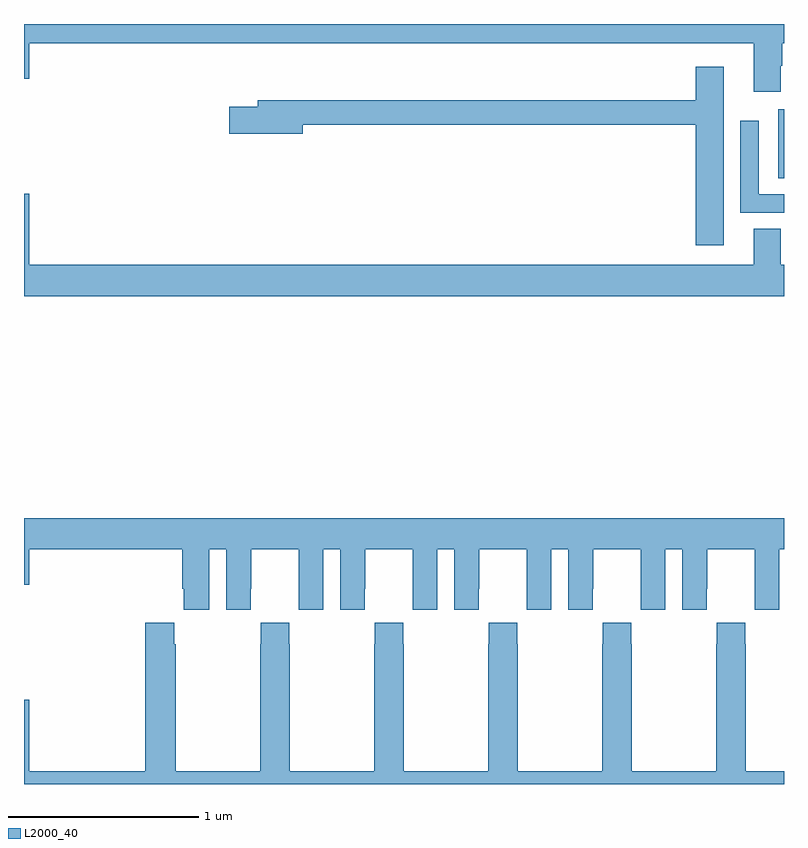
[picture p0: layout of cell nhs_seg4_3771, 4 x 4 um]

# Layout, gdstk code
import gdstk
lib = gdstk.Library(unit=1e-6, precision=1e-09)
def R(c, l, rs):  # rectangles x0, y0, x1, y1
    for r in rs: c.add(gdstk.rectangle(r[:2], r[2:], *l))
def P(c, l, *ps):  # polygons
    for p in ps: c.add(gdstk.Polygon(p, *l))
L2000_40 = (2000, 40)

nhs_seg4_3771 = lib.new_cell('nhs_seg4_3771')
R(nhs_seg4_3771, L2000_40, [(312.971,816.088,313,816.451)])
P(nhs_seg4_3771, L2000_40, [(312.982,816.68),(312.99,816.68),(312.99,816.8),(313,816.8),(313,816.9),(309,816.9),(309,816.612),(309.028,816.612),(309.028,816.8),(312.842,816.8),(312.842,816.543),(312.982,816.543)],
  [(312.682,816.676),(312.536,816.676),(312.536,816.499),(310.229,816.499),(310.229,816.465),(310.08,816.465),(310.08,816.323),(310.468,816.323),(310.468,816.37),(312.536,816.37),(312.536,815.736),(312.682,815.736)],
  [(313,816.003),(312.867,816.003),(312.867,816.391),(312.771,816.391),(312.771,815.907),(313,815.907)],
  [(313,815.632),(312.982,815.632),(312.982,815.822),(312.842,815.822),(312.842,815.632),(309.028,815.632),(309.028,816.007),(309,816.007),(309,815.468),(313,815.468)],
  [(309.976,814.136),(310.064,814.136),(310.064,813.816),(310.194,813.816),(310.194,813.928),(310.195,813.928),(310.195,814.136),(310.445,814.136),(310.445,813.928),(310.446,813.928),(310.446,813.816),(310.576,813.816),(310.576,814.136),(310.664,814.136),(310.664,813.816),(310.794,813.816),(310.794,813.928),(310.795,813.928),(310.795,814.136),(311.045,814.136),(311.045,813.928),(311.046,813.928),(311.046,813.816),(311.176,813.816),(311.176,814.136),(311.264,814.136),(311.264,813.816),(311.394,813.816),(311.394,813.928),(311.395,813.928),(311.395,814.136),(311.645,814.136),(311.645,813.928),(311.646,813.928),(311.646,813.816),(311.776,813.816),(311.776,814.136),(311.864,814.136),(311.864,813.816),(311.994,813.816),(311.994,813.928),(311.995,813.928),(311.995,814.136),(312.245,814.136),(312.245,813.928),(312.246,813.928),(312.246,813.816),(312.376,813.816),(312.376,814.136),(312.464,814.136),(312.464,813.816),(312.594,813.816),(312.594,813.928),(312.595,813.928),(312.595,814.136),(312.845,814.136),(312.845,813.928),(312.846,813.928),(312.846,813.816),(312.976,813.816),(312.976,814.136),(313,814.136),(313,814.3),(309,814.3),(309,813.948),(309.028,813.948),(309.028,814.136),(309.833,814.136),(309.833,813.928),(309.842,813.928),(309.842,813.816),(309.976,813.816)],
  [(313,812.968),(312.798,812.968),(312.798,813.635),(312.795,813.635),(312.795,813.748),(312.645,813.748),(312.645,813.635),(312.643,813.635),(312.643,812.968),(312.198,812.968),(312.198,813.635),(312.195,813.635),(312.195,813.748),(312.045,813.748),(312.045,813.635),(312.043,813.635),(312.043,812.968),(311.598,812.968),(311.598,813.635),(311.595,813.635),(311.595,813.748),(311.445,813.748),(311.445,813.635),(311.443,813.635),(311.443,812.968),(310.998,812.968),(310.998,813.635),(310.995,813.635),(310.995,813.748),(310.845,813.748),(310.845,813.635),(310.843,813.635),(310.843,812.968),(310.398,812.968),(310.398,813.635),(310.395,813.635),(310.395,813.748),(310.245,813.748),(310.245,813.635),(310.243,813.635),(310.243,812.968),(309.798,812.968),(309.798,813.635),(309.791,813.635),(309.791,813.748),(309.638,813.748),(309.638,812.968),(309.028,812.968),(309.028,813.343),(309,813.343),(309,812.9),(313,812.9)])

lib.write_gds('nhs_seg4_3771.gds')
